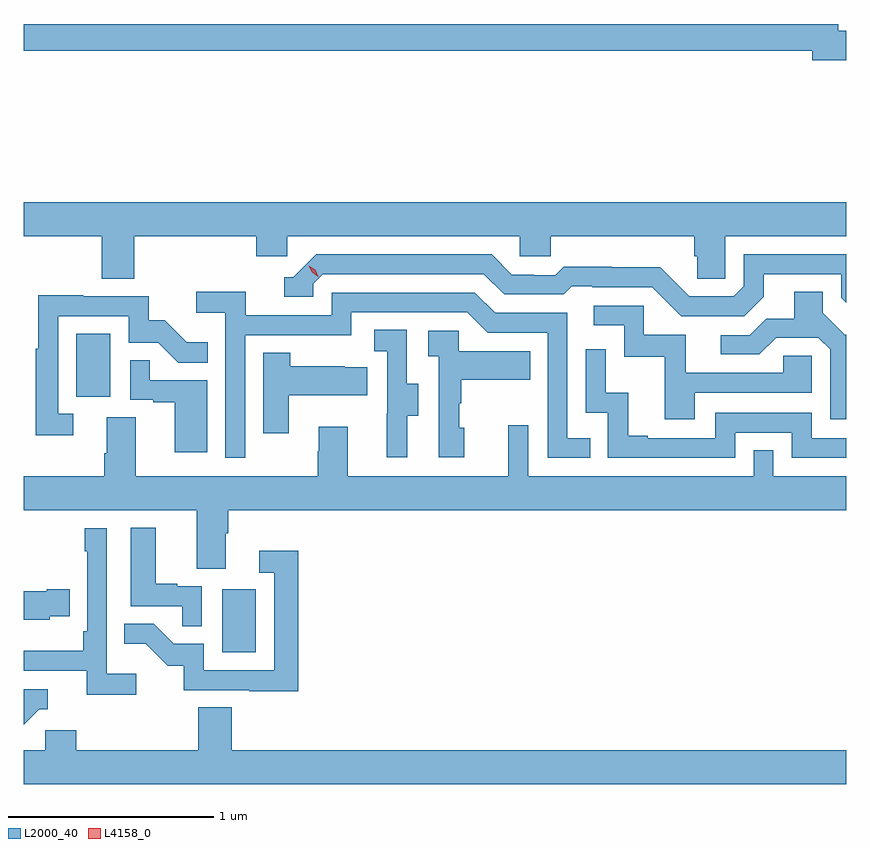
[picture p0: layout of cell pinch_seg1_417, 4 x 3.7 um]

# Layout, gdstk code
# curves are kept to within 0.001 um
import gdstk
lib = gdstk.Library(unit=1e-6, precision=1e-09)
def R(c, l, rs):  # rectangles x0, y0, x1, y1
    for r in rs: c.add(gdstk.rectangle(r[:2], r[2:], *l))
def P(c, l, *ps):  # polygons
    for p in ps: c.add(gdstk.Polygon(p, *l))
L2000_40 = (2000, 40)
L4158_0 = (4158, 0)

pinch_seg1_417 = lib.new_cell('pinch_seg1_417')
R(pinch_seg1_417, L2000_40, [(948.134,523.068,948.298,523.375), (947.426,524.31,947.59,524.617)])
P(pinch_seg1_417, L2000_40, [(951.169,526.089),(951.13,526.089),(951.13,526.123),(947.169,526.123),(947.169,525.994),(951.002,525.994),(951.002,525.947),(951.169,525.947)],
  [(947.169,525.092),(947.548,525.092),(947.548,524.884),(947.708,524.884),(947.708,525.092),(948.299,525.092),(948.299,524.994),(948.45,524.994),(948.45,525.092),(949.581,525.092),(949.581,524.994),(949.731,524.994),(949.731,525.092),(950.429,525.092),(950.429,524.994),(950.443,524.994),(950.443,524.884),(950.58,524.884),(950.58,525.092),(951.169,525.092),(951.169,525.256),(947.169,525.256)],
  [(950.767,524.797),(950.767,524.907),(951.144,524.907),(951.144,524.793),(951.169,524.768),(951.169,525.003),(950.67,525.003),(950.67,524.847),(950.622,524.799),(950.406,524.799),(950.264,524.941),(950.028,524.941),(950.028,524.944),(949.795,524.944),(949.753,524.901),(949.65,524.901),(949.65,524.904),(949.543,524.904),(949.444,525.003),(948.591,525.003),(948.48,524.892),(948.437,524.892),(948.437,524.796),(948.576,524.796),(948.576,524.859),(948.624,524.907),(949.407,524.907),(949.506,524.808),(949.795,524.808),(949.834,524.847),(949.933,524.847),(949.933,524.844),(950.226,524.844),(950.367,524.703),(950.673,524.703)],
  [(948.246,524.61),(948.762,524.609),(948.762,524.721),(949.326,524.721),(949.425,524.622),(949.716,524.622),(949.716,524.013),(949.925,524.013),(949.925,524.109),(949.812,524.109),(949.812,524.718),(949.462,524.718),(949.363,524.817),(948.666,524.817),(948.666,524.706),(948.248,524.706),(948.248,524.822),(948.009,524.822),(948.009,524.72),(948.15,524.72),(948.15,524.013),(948.246,524.013)],
  [(951.169,524.613),(951.162,524.613),(951.055,524.72),(951.055,524.822),(950.915,524.822),(950.915,524.69),(950.78,524.69),(950.7,524.61),(950.559,524.61),(950.559,524.517),(950.746,524.517),(950.827,524.598),(951.033,524.598),(951.09,524.541),(951.09,524.202),(951.169,524.202)],
  [(947.41,524.229),(947.337,524.229),(947.337,524.703),(947.679,524.703),(947.679,524.574),(947.823,524.574),(947.921,524.476),(948.065,524.476),(948.065,524.575),(947.961,524.575),(947.854,524.682),(947.778,524.682),(947.778,524.799),(947.459,524.799),(947.459,524.804),(947.241,524.804),(947.241,524.543),(947.229,524.543),(947.229,524.124),(947.41,524.124)],
  [(950.431,524.331),(951,524.331),(951,524.511),(950.863,524.511),(950.863,524.427),(950.389,524.427),(950.389,524.613),(950.184,524.613),(950.184,524.754),(949.941,524.754),(949.941,524.658),(950.088,524.658),(950.088,524.505),(950.287,524.505),(950.287,524.202),(950.431,524.202)],
  [(949.033,524.218),(949.087,524.218),(949.087,524.373),(949.032,524.373),(949.032,524.636),(948.873,524.636),(948.873,524.533),(948.936,524.533),(948.936,524.229),(948.935,524.229),(948.935,524.016),(949.033,524.016)],
  [(949.312,524.16),(949.287,524.16),(949.287,524.279),(949.297,524.279),(949.297,524.393),(949.631,524.393),(949.631,524.533),(949.284,524.533),(949.284,524.631),(949.137,524.631),(949.137,524.507),(949.188,524.507),(949.188,524.016),(949.312,524.016)],
  [(950.628,524.136),(950.904,524.136),(950.904,524.013),(951.169,524.013),(951.169,524.109),(951,524.109),(951,524.232),(950.532,524.232),(950.532,524.109),(950.203,524.109),(950.203,524.121),(950.108,524.121),(950.108,524.33),(949.998,524.33),(949.998,524.542),(949.902,524.542),(949.902,524.232),(950.01,524.232),(950.01,524.013),(950.628,524.013)],
  [(948.457,524.318),(948.839,524.318),(948.839,524.455),(948.731,524.455),(948.731,524.458),(948.465,524.458),(948.465,524.525),(948.335,524.525),(948.335,524.133),(948.457,524.133)],
  [(948.061,524.391),(947.783,524.391),(947.783,524.489),(947.688,524.489),(947.688,524.295),(947.799,524.295),(947.799,524.283),(947.903,524.283),(947.903,524.04),(948.061,524.04)],
  [(948.151,523.648),(948.164,523.648),(948.164,523.76),(951.169,523.76),(951.169,523.924),(950.814,523.924),(950.814,524.051),(950.718,524.051),(950.718,523.924),(949.623,523.924),(949.623,524.173),(949.526,524.173),(949.526,523.924),(948.745,523.924),(948.745,524.164),(948.605,524.164),(948.605,524.045),(948.598,524.045),(948.598,523.924),(947.713,523.924),(947.713,524.21),(947.573,524.21),(947.573,524.036),(947.561,524.036),(947.561,523.924),(947.169,523.924),(947.169,523.76),(948.011,523.76),(948.011,523.474),(948.151,523.474)],
  [(948.036,523.389),(947.915,523.389),(947.915,523.402),(947.812,523.402),(947.812,523.675),(947.69,523.675),(947.69,523.293),(947.941,523.293),(947.941,523.195),(948.036,523.195)],
  [(947.716,522.964),(947.574,522.964),(947.574,523.672),(947.466,523.672),(947.466,523.559),(947.478,523.559),(947.478,523.171),(947.458,523.171),(947.458,523.075),(947.169,523.075),(947.169,522.978),(947.477,522.978),(947.477,522.862),(947.716,522.862)],
  [(948.503,523.561),(948.315,523.561),(948.315,523.455),(948.387,523.455),(948.387,522.981),(948.045,522.981),(948.045,523.11),(947.9,523.11),(947.802,523.208),(947.659,523.208),(947.659,523.109),(947.763,523.109),(947.87,523.002),(947.947,523.002),(947.947,522.885),(948.265,522.885),(948.265,522.88),(948.503,522.88)],
  [(947.295,523.244),(947.393,523.244),(947.393,523.374),(947.282,523.374),(947.282,523.366),(947.169,523.366),(947.169,523.226),(947.295,523.226)],
  [(947.244,522.792),(947.287,522.792),(947.287,522.888),(947.169,522.888),(947.169,522.717)],
  [(951.169,522.592),(948.182,522.592),(948.182,522.8),(948.017,522.8),(948.017,522.592),(947.426,522.592),(947.426,522.69),(947.274,522.69),(947.274,522.592),(947.169,522.592),(947.169,522.428),(951.169,522.428)])
P(pinch_seg1_417, L4158_0, [(948.602,524.895),(948.571,524.915),(948.556,524.947),(948.556,524.948),(948.556,524.948),(948.586,524.928),(948.602,524.895),(948.602,524.895)])

lib.write_gds('pinch_seg1_417.gds')
